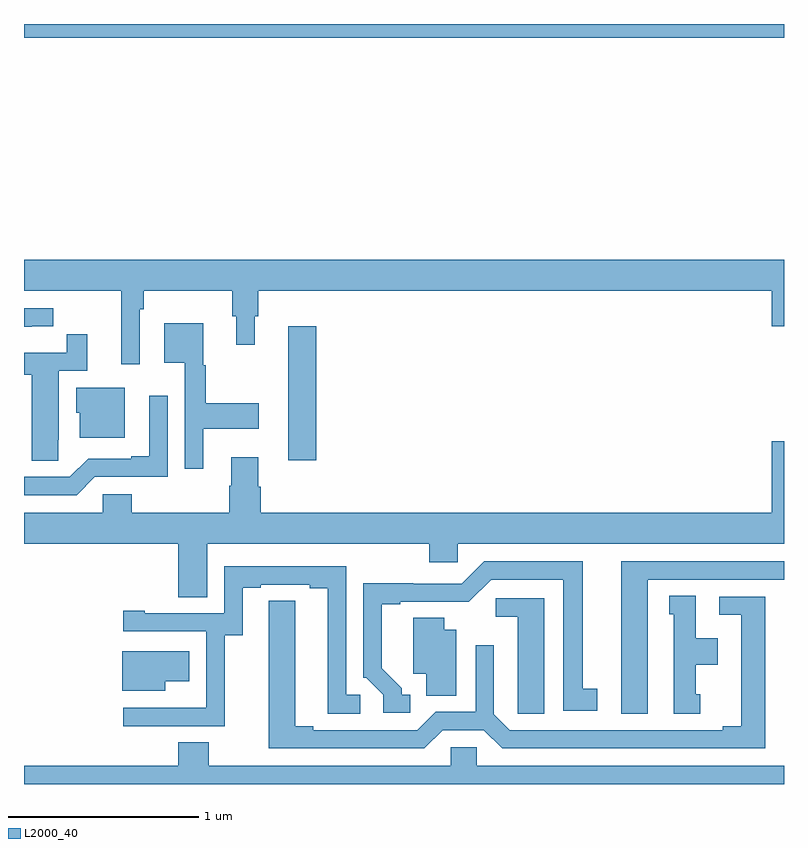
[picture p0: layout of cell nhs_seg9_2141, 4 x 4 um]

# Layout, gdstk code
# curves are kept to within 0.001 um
import gdstk
lib = gdstk.Library(unit=1e-6, precision=1e-09)
def R(c, l, rs):  # rectangles x0, y0, x1, y1
    for r in rs: c.add(gdstk.rectangle(r[:2], r[2:], *l))
def P(c, l, *ps):  # polygons
    for p in ps: c.add(gdstk.Polygon(p, *l))
L2000_40 = (2000, 40)

nhs_seg9_2141 = lib.new_cell('nhs_seg9_2141')
R(nhs_seg9_2141, L2000_40, [(234.392,1186.203,234.539,1186.909), (233,1188.428,237,1188.5)])
P(nhs_seg9_2141, L2000_40, [(233.61,1187),(233.63,1187),(233.63,1187.096),(234.097,1187.096),(234.097,1186.962),(234.116,1186.962),(234.116,1186.812),(234.214,1186.812),(234.214,1186.962),(234.233,1186.962),(234.233,1187.096),(236.936,1187.096),(236.936,1186.908),(237,1186.908),(237,1187.26),(233,1187.26),(233,1187.096),(233.513,1187.096),(233.513,1186.71),(233.61,1186.71)],
  [(233.042,1186.908),(233.155,1186.908),(233.155,1187.004),(233,1187.004),(233,1186.907),(233.042,1186.907)],
  [(233.944,1186.37),(234.235,1186.37),(234.235,1186.505),(233.956,1186.505),(233.956,1186.704),(233.944,1186.704),(233.944,1186.924),(233.738,1186.924),(233.738,1186.718),(233.847,1186.718),(233.847,1186.158),(233.944,1186.158)],
  [(233.181,1186.312),(233.182,1186.312),(233.182,1186.674),(233.333,1186.674),(233.333,1186.867),(233.224,1186.867),(233.224,1186.77),(233,1186.77),(233,1186.654),(233.042,1186.654),(233.042,1186.201),(233.181,1186.201)],
  [(233.53,1186.585),(233.276,1186.585),(233.276,1186.455),(233.294,1186.455),(233.294,1186.322),(233.53,1186.322)],
  [(233.373,1186.116),(233.757,1186.116),(233.757,1186.543),(233.66,1186.543),(233.66,1186.225),(233.564,1186.225),(233.564,1186.212),(233.337,1186.212),(233.241,1186.116),(233,1186.116),(233,1186.02),(233.277,1186.02)],
  [(233.965,1185.764),(235.133,1185.764),(235.133,1185.666),(235.284,1185.666),(235.284,1185.764),(237,1185.764),(237,1186.303),(236.936,1186.303),(236.936,1185.928),(234.245,1185.928),(234.245,1186.065),(234.232,1186.065),(234.232,1186.219),(234.092,1186.219),(234.092,1186.07),(234.08,1186.07),(234.08,1185.928),(233.567,1185.928),(233.567,1186.026),(233.415,1186.026),(233.415,1185.928),(233,1185.928),(233,1185.764),(233.813,1185.764),(233.813,1185.484),(233.965,1185.484)],
  [(235.033,1184.97),(234.988,1184.97),(234.988,1185.005),(234.883,1185.11),(234.883,1185.447),(234.979,1185.447),(234.979,1185.459),(235.34,1185.458),(235.458,1185.576),(235.838,1185.576),(235.838,1184.886),(236.017,1184.886),(236.017,1185.002),(235.942,1185.002),(235.942,1185.672),(235.422,1185.672),(235.305,1185.555),(235.049,1185.555),(235.049,1185.557),(234.786,1185.557),(234.786,1185.06),(234.801,1185.06),(234.891,1184.97),(234.891,1184.874),(235.033,1184.874)],
  [(236.284,1185.576),(237,1185.576),(237,1185.672),(236.144,1185.672),(236.144,1184.871),(236.284,1184.871)],
  [(234.057,1185.283),(234.151,1185.283),(234.151,1185.534),(234.247,1185.534),(234.247,1185.549),(234.503,1185.549),(234.503,1185.529),(234.599,1185.529),(234.599,1184.869),(234.769,1184.869),(234.769,1184.97),(234.696,1184.97),(234.696,1185.645),(234.054,1185.645),(234.054,1185.399),(233.635,1185.399),(233.635,1185.412),(233.523,1185.412),(233.523,1185.303),(233.958,1185.303),(233.958,1184.902),(233.957,1184.902),(233.957,1184.901),(233.523,1184.901),(233.523,1184.805),(234.057,1184.805)],
  [(236.56,1184.973),(236.536,1184.973),(236.536,1185.128),(236.65,1185.128),(236.65,1185.268),(236.536,1185.268),(236.536,1185.491),(236.396,1185.491),(236.396,1185.393),(236.42,1185.393),(236.42,1184.871),(236.56,1184.871)],
  [(235.203,1184.784),(235.421,1184.784),(235.517,1184.688),(236.902,1184.688),(236.902,1185.486),(236.658,1185.486),(236.658,1185.39),(236.774,1185.39),(236.774,1184.804),(236.678,1184.804),(236.678,1184.784),(235.557,1184.784),(235.473,1184.868),(235.473,1185.229),(235.377,1185.229),(235.377,1184.88),(235.167,1184.88),(235.071,1184.784),(234.523,1184.784),(234.523,1184.804),(234.427,1184.804),(234.427,1185.464),(234.288,1185.464),(234.287,1184.688),(235.107,1184.688)],
  [(235.738,1185.477),(235.482,1185.477),(235.482,1185.38),(235.598,1185.38),(235.598,1184.977),(235.599,1184.977),(235.599,1184.869),(235.738,1184.869)],
  [(235.276,1185.313),(235.213,1185.313),(235.213,1185.374),(235.049,1185.374),(235.049,1185.08),(235.118,1185.08),(235.118,1184.965),(235.276,1184.965)],
  [(233.743,1185.041),(233.869,1185.041),(233.869,1185.199),(233.516,1185.199),(233.516,1184.99),(233.743,1184.99)],
  [(237,1184.596),(235.383,1184.596),(235.383,1184.694),(235.245,1184.694),(235.245,1184.596),(233.973,1184.596),(233.973,1184.72),(233.813,1184.72),(233.813,1184.596),(233,1184.596),(233,1184.5),(237,1184.5)])

lib.write_gds('nhs_seg9_2141.gds')
